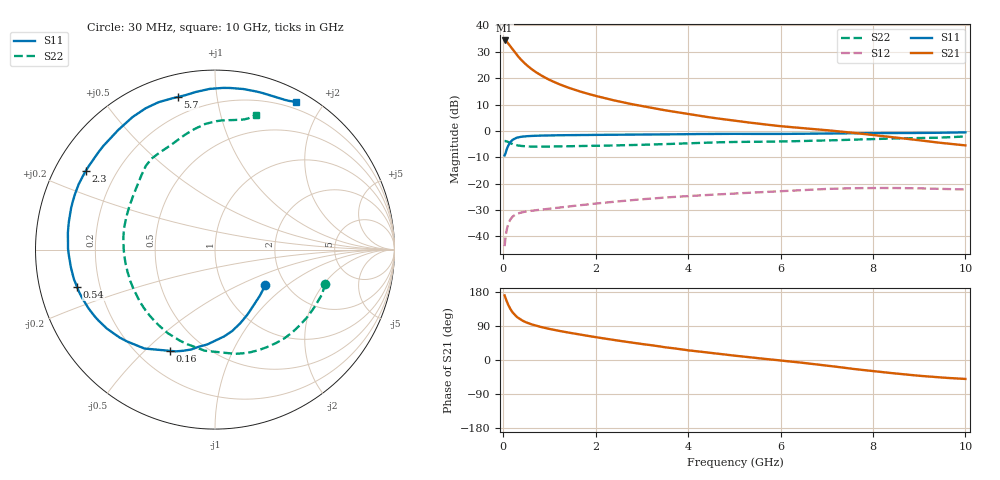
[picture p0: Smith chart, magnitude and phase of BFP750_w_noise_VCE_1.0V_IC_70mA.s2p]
! Infineon Technologies  Discrete & RF Semiconductors
! BFP750
! VCE =  1.0 V,  IC =  70 mA
! Common Emitter S-Parameters:  Jan 2016
# GHz  S  MA  R  50
!  f  S11  S21  S12  S22
! GHz  MAG  ANG  MAG  ANG  MAG  ANG  MAG  ANG
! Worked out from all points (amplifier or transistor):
!   229 points, 30 MHz to 10 GHz, reference 50 ohm
!   highest |S21| = 34.3 dB at 30 MHz (marker M1)
!   |S21| within 3 dB of that: start of sweep to 187.6 MHz
!   unconditionally stable (mu >= 1): 2.473 GHz to end of sweep
!   at 280 MHz: K = 0.30, MSG = 30.4 dB, |S12| = -31.6 dB
!   at 1.78 GHz: K = 0.85, MSG = 21.2 dB, |S12| = -28.0 dB
!   at 10 GHz: K = 1.19, MAG = 5.7 dB, |S12| = -22.2 dB
!   lowest NFmin = 1.24 dB at 450 MHz
!   S11 on the Smith chart (normalised r, x): 30 MHz: 1.59, -0.71; 160 MHz: 0.33, -0.60; 540 MHz: 0.12, -0.13; 2.3 GHz: 0.09, +0.28; 5.7 GHz: 0.11, +0.78; 10 GHz: 0.12, +1.68
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0.03  0.3429 -34.9  52.01 170.5  0.0065 48.1  0.6441 -17.1
0.055  0.39 -59.4  50.71 162.0  0.0104 53.2  0.6379 -33.0
0.07  0.4339 -71.1  49.74 156.7  0.0124 52.5  0.6333 -41.3
0.09  0.4864 -84.0  47.8 150.6  0.015 50.4  0.6276 -52.0
0.12  0.5488 -99.5  44.08 142.5  0.0181 46.5  0.6108 -66.5
0.16  0.6184 -114.2  39.76 133.8  0.0212 41.2  0.5827 -82.3
0.2  0.677 -125.5  35.62 125.9  0.0235 37.0  0.5662 -95.8
0.26  0.7231 -137.4  30.39 117.8  0.0257 32.4  0.5438 -111.1
0.3  0.7459 -143.8  27.33 113.2  0.0267 29.9  0.5348 -119.5
0.4  0.7766 -154.9  21.79 104.9  0.0284 26.1  0.5175 -134.8
0.54  0.7963 -164.9  16.82 97.4  0.0299 23.7  0.5062 -148.7
0.7  0.8091 -173.1  13.14 90.8  0.0312 22.5  0.5032 -159.6
1  0.8207 176.6  9.295 82.0  0.0334 22.3  0.5045 -172.5
1.3  0.8291 168.8  7.173 74.8  0.0358 22.8  0.5092 178.9
1.7  0.8375 160.2  5.47 66.4  0.0392 23.1  0.517 170.1
2.3  0.8427 148.7  3.976 54.6  0.0443 22.3  0.5269 158.9
3.4  0.8542 130.6  2.556 35.6  0.0537 17.9  0.5576 141.8
5.1  0.8781 109.8  1.524 10.3  0.0655 8.6  0.6182 123.9
5.7  0.8751 103.8  1.316 2.5  0.0695 4.9  0.6247 117.3
6.8  0.8906 93.9  1.066 -11.8  0.0776 -3.0  0.6525 106.8
8.4  0.9105 75.4  0.763 -34.5  0.0826 -18.5  0.7158 89.3
10  0.9382 61.2  0.531 -50.0  0.0774 -29.8  0.7849 73.1
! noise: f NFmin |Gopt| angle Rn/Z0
0.45  1.24  0.23  -168  0.46
0.9  1.26  0.33  -162  0.18
1.5  1.28  0.43  -155  0.09
1.9  1.29  0.45  -149  0.08
2.4  1.29  0.45  -142  0.1
3.5  1.53  0.45  -126  0.13
